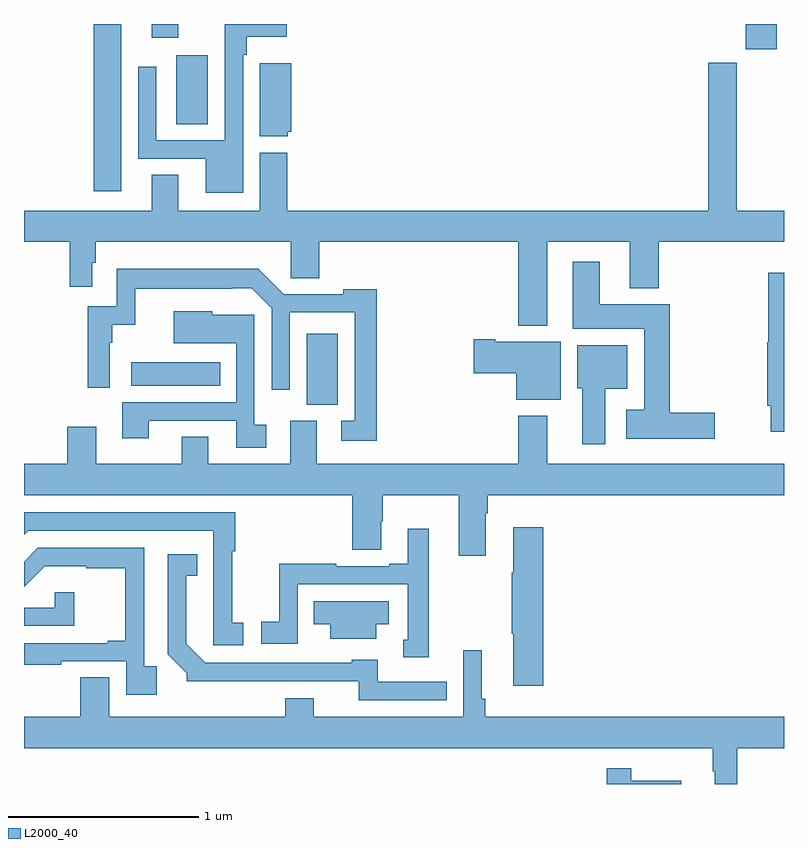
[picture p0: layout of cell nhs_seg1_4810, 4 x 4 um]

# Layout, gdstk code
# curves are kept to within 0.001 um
import gdstk
lib = gdstk.Library(unit=1e-6, precision=1e-09)
def R(c, l, rs):  # rectangles x0, y0, x1, y1
    for r in rs: c.add(gdstk.rectangle(r[:2], r[2:], *l))
def P(c, l, *ps):  # polygons
    for p in ps: c.add(gdstk.Polygon(p, *l))
L2000_40 = (2000, 40)

nhs_seg1_4810 = lib.new_cell('nhs_seg1_4810')
R(nhs_seg1_4810, L2000_40, [(372.488,564.196,372.652,564.568), (371.565,564.296,372.032,564.418), (371.366,565.32,371.512,566.199), (371.801,565.672,371.968,566.035), (374.798,566.067,374.962,566.199), (371.672,566.127,371.812,566.199)])
P(nhs_seg1_4810, L2000_40, [(372.153,566.036),(372.173,566.036),(372.173,566.132),(372.382,566.132),(372.382,566.199),(372.057,566.199),(372.057,565.587),(371.697,565.587),(371.697,565.975),(371.601,565.975),(371.601,565.491),(371.957,565.491),(371.957,565.31),(372.153,565.31)],
  [(373.753,565.052),(374.189,565.052),(374.189,564.809),(374.342,564.809),(374.342,565.052),(375,565.052),(375,565.216),(374.752,565.216),(374.752,565.995),(374.6,565.995),(374.6,565.216),(372.386,565.216),(372.386,565.522),(372.242,565.522),(372.242,565.216),(371.812,565.216),(371.812,565.406),(371.672,565.406),(371.672,565.216),(371,565.216),(371,565.052),(371.242,565.052),(371.242,564.816),(371.358,564.816),(371.358,564.942),(371.378,564.942),(371.378,565.052),(372.403,565.052),(372.403,564.862),(372.554,564.862),(372.554,565.052),(373.601,565.052),(373.601,564.611),(373.753,564.611)],
  [(372.387,565.632),(372.406,565.632),(372.406,565.993),(372.242,565.993),(372.242,565.607),(372.387,565.607)],
  [(374.635,564.152),(374.399,564.152),(374.399,564.724),(374.029,564.724),(374.029,564.949),(373.889,564.949),(373.889,564.596),(374.264,564.596),(374.264,564.169),(374.169,564.169),(374.169,564.017),(374.635,564.017)],
  [(372.857,564.802),(372.681,564.802),(372.681,564.777),(372.366,564.777),(372.233,564.91),(371.487,564.91),(371.487,564.714),(371.335,564.714),(371.335,564.285),(371.451,564.285),(371.451,564.521),(371.464,564.521),(371.464,564.617),(371.585,564.617),(371.585,564.806),(372.198,564.807),(372.303,564.702),(372.303,564.273),(372.399,564.273),(372.399,564.681),(372.741,564.681),(372.741,564.111),(372.669,564.111),(372.669,564.006),(372.857,564.006)],
  [(375,564.889),(374.918,564.889),(374.918,564.525),(374.912,564.525),(374.912,564.189),(374.93,564.189),(374.93,564.054),(375,564.054)],
  [(372.274,564.09),(372.213,564.09),(372.213,564.669),(371.991,564.669),(371.991,564.688),(371.789,564.688),(371.789,564.518),(372.117,564.518),(372.117,564.207),(371.516,564.207),(371.516,564.018),(371.656,564.018),(371.656,564.111),(372.116,564.111),(372.116,563.97),(372.274,563.97)],
  [(373.825,564.526),(373.48,564.526),(373.48,564.539),(373.368,564.539),(373.368,564.361),(373.592,564.361),(373.592,564.221),(373.825,564.221)],
  [(374.059,564.278),(374.176,564.278),(374.176,564.508),(373.913,564.508),(373.913,564.282),(373.937,564.282),(373.937,563.988),(374.059,563.988)],
  [(373.429,563.624),(373.442,563.624),(373.442,563.72),(375,563.72),(375,563.884),(373.753,563.884),(373.753,564.136),(373.601,564.136),(373.601,563.884),(372.541,563.884),(372.541,564.111),(372.401,564.111),(372.401,563.884),(371.971,563.884),(371.971,564.026),(371.831,564.026),(371.831,563.884),(371.38,563.884),(371.38,564.079),(371.228,564.079),(371.228,563.884),(371,563.884),(371,563.72),(372.728,563.72),(372.728,563.431),(372.88,563.431),(372.88,563.582),(372.888,563.582),(372.888,563.72),(373.289,563.72),(373.289,563.4),(373.429,563.4)],
  [(372.154,563.049),(372.096,563.049),(372.096,563.425),(372.113,563.425),(372.113,563.628),(371,563.628),(371,563.51),(371.022,563.532),(371.997,563.532),(371.996,562.929),(372.154,562.929)],
  [(373.733,563.551),(373.574,563.551),(373.574,563.312),(373.567,563.312),(373.567,562.99),(373.574,562.99),(373.574,562.716),(373.733,562.716)],
  [(373.129,563.542),(373.019,563.542),(373.019,563.359),(372.923,563.359),(372.923,563.346),(372.644,563.346),(372.644,563.359),(372.343,563.359),(372.343,563.054),(372.249,563.054),(372.249,562.938),(372.441,562.938),(372.441,563.25),(373.02,563.25),(373.02,562.959),(372.995,562.959),(372.995,562.865),(373.129,562.865)],
  [(371.699,562.819),(371.634,562.819),(371.634,563.442),(371.073,563.442),(371,563.369),(371,563.237),(371.108,563.345),(371.327,563.345),(371.327,563.334),(371.533,563.334),(371.533,562.954),(371.441,562.954),(371.441,562.941),(371,562.941),(371,562.826),(371.197,562.826),(371.197,562.845),(371.538,562.845),(371.538,562.668),(371.699,562.668)],
  [(373.226,562.737),(372.862,562.737),(372.862,562.852),(372.726,562.852),(372.726,562.836),(371.955,562.836),(371.854,562.937),(371.854,563.294),(371.912,563.294),(371.912,563.407),(371.757,563.407),(371.757,562.882),(371.856,562.783),(371.856,562.739),(372.763,562.74),(372.763,562.641),(373.226,562.641)],
  [(371.264,563.209),(371.163,563.209),(371.163,563.127),(371,563.127),(371,563.031),(371.264,563.031)],
  [(372.853,563.039),(372.919,563.039),(372.919,563.161),(372.526,563.161),(372.526,563.039),(372.611,563.039),(372.611,562.964),(372.853,562.964)],
  [(374.753,562.388),(375,562.388),(375,562.552),(373.427,562.552),(373.427,562.648),(373.408,562.648),(373.408,562.903),(373.311,562.903),(373.311,562.552),(372.526,562.552),(372.526,562.651),(372.374,562.651),(372.374,562.552),(371.449,562.552),(371.449,562.76),(371.297,562.76),(371.297,562.552),(371,562.552),(371,562.388),(374.625,562.388),(374.625,562.265),(374.636,562.265),(374.636,562.199),(374.753,562.199)],
  [(374.458,562.216),(374.197,562.216),(374.197,562.282),(374.068,562.282),(374.068,562.199),(374.458,562.199)])

lib.write_gds('nhs_seg1_4810.gds')
